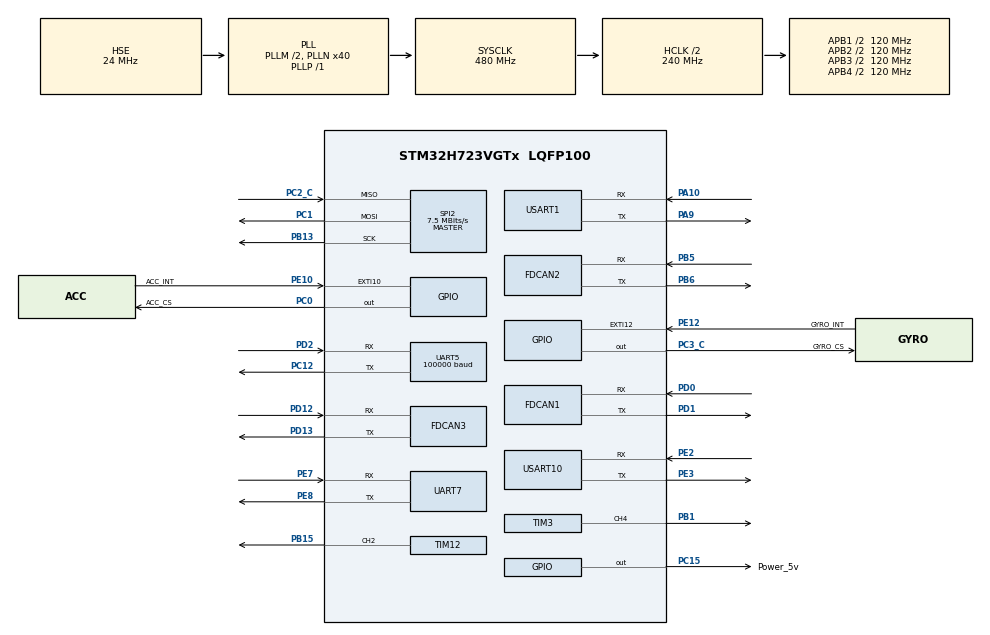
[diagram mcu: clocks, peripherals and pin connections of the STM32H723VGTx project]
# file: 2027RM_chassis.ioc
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CORTEX_M7.CPU_ICache=Disabled
CORTEX_M7.default_mode_Activation=1
Dma.Request0=SPI2_RX
Dma.Request1=SPI2_TX
Dma.Request2=UART5_RX
Dma.Request3=UART7_RX
Dma.Request4=UART7_TX
Dma.Request5=USART1_TX
Dma.Request6=USART10_RX
Dma.SPI2_RX.0.Direction=DMA_PERIPH_TO_MEMORY
Dma.SPI2_RX.0.EventEnable=DISABLE
Dma.SPI2_RX.0.FIFOMode=DMA_FIFOMODE_DISABLE
Dma.SPI2_RX.0.Instance=DMA1_Stream0
Dma.SPI2_RX.0.MemDataAlignment=DMA_MDATAALIGN_BYTE
Dma.SPI2_RX.0.MemInc=DMA_MINC_ENABLE
Dma.SPI2_RX.0.Mode=DMA_NORMAL
Dma.SPI2_RX.0.PeriphDataAlignment=DMA_PDATAALIGN_BYTE
Dma.SPI2_RX.0.PeriphInc=DMA_PINC_DISABLE
Dma.SPI2_RX.0.Polarity=HAL_DMAMUX_REQ_GEN_RISING
Dma.SPI2_RX.0.Priority=DMA_PRIORITY_VERY_HIGH
Dma.SPI2_RX.0.RequestNumber=1
Dma.SPI2_RX.0.SignalID=NONE
Dma.SPI2_RX.0.SyncEnable=DISABLE
Dma.SPI2_RX.0.SyncPolarity=HAL_DMAMUX_SYNC_NO_EVENT
Dma.SPI2_RX.0.SyncRequestNumber=1
Dma.SPI2_RX.0.SyncSignalID=NONE
Dma.SPI2_TX.1.Direction=DMA_MEMORY_TO_PERIPH
Dma.SPI2_TX.1.EventEnable=DISABLE
Dma.SPI2_TX.1.FIFOMode=DMA_FIFOMODE_DISABLE
Dma.SPI2_TX.1.Instance=DMA1_Stream2
Dma.SPI2_TX.1.MemDataAlignment=DMA_MDATAALIGN_BYTE
Dma.SPI2_TX.1.MemInc=DMA_MINC_ENABLE
Dma.SPI2_TX.1.Mode=DMA_NORMAL
Dma.SPI2_TX.1.PeriphDataAlignment=DMA_PDATAALIGN_BYTE
Dma.SPI2_TX.1.PeriphInc=DMA_PINC_DISABLE
Dma.SPI2_TX.1.Polarity=HAL_DMAMUX_REQ_GEN_RISING
Dma.SPI2_TX.1.Priority=DMA_PRIORITY_HIGH
Dma.SPI2_TX.1.RequestNumber=1
Dma.SPI2_TX.1.SignalID=NONE
Dma.SPI2_TX.1.SyncEnable=DISABLE
Dma.SPI2_TX.1.SyncPolarity=HAL_DMAMUX_SYNC_NO_EVENT
Dma.SPI2_TX.1.SyncRequestNumber=1
Dma.SPI2_TX.1.SyncSignalID=NONE
Dma.UART5_RX.2.Direction=DMA_PERIPH_TO_MEMORY
Dma.UART5_RX.2.EventEnable=DISABLE
Dma.UART5_RX.2.FIFOMode=DMA_FIFOMODE_DISABLE
Dma.UART5_RX.2.Instance=DMA1_Stream4
Dma.UART5_RX.2.MemDataAlignment=DMA_MDATAALIGN_BYTE
Dma.UART5_RX.2.MemInc=DMA_MINC_ENABLE
Dma.UART5_RX.2.Mode=DMA_CIRCULAR
Dma.UART5_RX.2.PeriphDataAlignment=DMA_PDATAALIGN_BYTE
Dma.UART5_RX.2.PeriphInc=DMA_PINC_DISABLE
Dma.UART5_RX.2.Polarity=HAL_DMAMUX_REQ_GEN_RISING
Dma.UART5_RX.2.Priority=DMA_PRIORITY_LOW
Dma.UART5_RX.2.RequestNumber=1
Dma.UART5_RX.2.SignalID=NONE
Dma.UART5_RX.2.SyncEnable=DISABLE
Dma.UART5_RX.2.SyncPolarity=HAL_DMAMUX_SYNC_NO_EVENT
Dma.UART5_RX.2.SyncRequestNumber=1
Dma.UART5_RX.2.SyncSignalID=NONE
Dma.UART7_RX.3.Direction=DMA_PERIPH_TO_MEMORY
Dma.UART7_RX.3.EventEnable=DISABLE
Dma.UART7_RX.3.FIFOMode=DMA_FIFOMODE_DISABLE
Dma.UART7_RX.3.Instance=DMA2_Stream6
Dma.UART7_RX.3.MemDataAlignment=DMA_MDATAALIGN_BYTE
Dma.UART7_RX.3.MemInc=DMA_MINC_ENABLE
Dma.UART7_RX.3.Mode=DMA_NORMAL
Dma.UART7_RX.3.PeriphDataAlignment=DMA_PDATAALIGN_BYTE
Dma.UART7_RX.3.PeriphInc=DMA_PINC_DISABLE
Dma.UART7_RX.3.Polarity=HAL_DMAMUX_REQ_GEN_RISING
Dma.UART7_RX.3.Priority=DMA_PRIORITY_LOW
Dma.UART7_RX.3.RequestNumber=1
Dma.UART7_RX.3.SignalID=NONE
Dma.UART7_RX.3.SyncEnable=DISABLE
Dma.UART7_RX.3.SyncPolarity=HAL_DMAMUX_SYNC_NO_EVENT
Dma.UART7_RX.3.SyncRequestNumber=1
Dma.UART7_RX.3.SyncSignalID=NONE
Dma.UART7_TX.4.Direction=DMA_MEMORY_TO_PERIPH
Dma.UART7_TX.4.EventEnable=DISABLE
Dma.UART7_TX.4.FIFOMode=DMA_FIFOMODE_DISABLE
Dma.UART7_TX.4.Instance=DMA1_Stream1
Dma.UART7_TX.4.MemDataAlignment=DMA_MDATAALIGN_BYTE
Dma.UART7_TX.4.MemInc=DMA_MINC_ENABLE
Dma.UART7_TX.4.Mode=DMA_NORMAL
Dma.UART7_TX.4.PeriphDataAlignment=DMA_PDATAALIGN_BYTE
Dma.UART7_TX.4.PeriphInc=DMA_PINC_DISABLE
Dma.UART7_TX.4.Polarity=HAL_DMAMUX_REQ_GEN_RISING
Dma.UART7_TX.4.Priority=DMA_PRIORITY_LOW
Dma.UART7_TX.4.RequestNumber=1
Dma.UART7_TX.4.SignalID=NONE
Dma.UART7_TX.4.SyncEnable=DISABLE
Dma.UART7_TX.4.SyncPolarity=HAL_DMAMUX_SYNC_NO_EVENT
Dma.UART7_TX.4.SyncRequestNumber=1
Dma.UART7_TX.4.SyncSignalID=NONE
Dma.USART10_RX.6.Direction=DMA_PERIPH_TO_MEMORY
Dma.USART10_RX.6.EventEnable=DISABLE
Dma.USART10_RX.6.FIFOMode=DMA_FIFOMODE_DISABLE
Dma.USART10_RX.6.Instance=DMA1_Stream3
Dma.USART10_RX.6.MemDataAlignment=DMA_MDATAALIGN_BYTE
Dma.USART10_RX.6.MemInc=DMA_MINC_ENABLE
Dma.USART10_RX.6.Mode=DMA_NORMAL
Dma.USART10_RX.6.PeriphDataAlignment=DMA_PDATAALIGN_BYTE
Dma.USART10_RX.6.PeriphInc=DMA_PINC_DISABLE
Dma.USART10_RX.6.Polarity=HAL_DMAMUX_REQ_GEN_RISING
Dma.USART10_RX.6.Priority=DMA_PRIORITY_MEDIUM
Dma.USART10_RX.6.RequestNumber=1
Dma.USART10_RX.6.SignalID=NONE
Dma.USART10_RX.6.SyncEnable=DISABLE
Dma.USART10_RX.6.SyncPolarity=HAL_DMAMUX_SYNC_NO_EVENT
Dma.USART10_RX.6.SyncRequestNumber=1
Dma.USART10_RX.6.SyncSignalID=NONE
Dma.USART1_TX.5.Direction=DMA_MEMORY_TO_PERIPH
Dma.USART1_TX.5.EventEnable=DISABLE
Dma.USART1_TX.5.FIFOMode=DMA_FIFOMODE_DISABLE
Dma.USART1_TX.5.Instance=DMA2_Stream0
Dma.USART1_TX.5.MemDataAlignment=DMA_MDATAALIGN_BYTE
Dma.USART1_TX.5.MemInc=DMA_MINC_ENABLE
Dma.USART1_TX.5.Mode=DMA_NORMAL
Dma.USART1_TX.5.PeriphDataAlignment=DMA_PDATAALIGN_BYTE
Dma.USART1_TX.5.PeriphInc=DMA_PINC_DISABLE
Dma.USART1_TX.5.Polarity=HAL_DMAMUX_REQ_GEN_RISING
Dma.USART1_TX.5.Priority=DMA_PRIORITY_LOW
Dma.USART1_TX.5.RequestNumber=1
Dma.USART1_TX.5.SignalID=NONE
Dma.USART1_TX.5.SyncEnable=DISABLE
Dma.USART1_TX.5.SyncPolarity=HAL_DMAMUX_SYNC_NO_EVENT
Dma.USART1_TX.5.SyncRequestNumber=1
Dma.USART1_TX.5.SyncSignalID=NONE
FDCAN1.AutoRetransmission=ENABLE
FDCAN1.CalculateBaudRateNominal=1000000
FDCAN1.CalculateTimeBitNominal=1000
FDCAN1.CalculateTimeQuantumNominal=50.0
FDCAN1.DataPrescaler=1
FDCAN1.DataTimeSeg1=15
FDCAN1.DataTimeSeg2=4
FDCAN1.FrameFormat=FDCAN_FRAME_FD_BRS
FDCAN1.NominalPrescaler=5
FDCAN1.NominalSyncJumpWidth=4
FDCAN1.NominalTimeSeg1=15
FDCAN1.NominalTimeSeg2=4
FDCAN1.ProtocolException=ENABLE
FDCAN1.RxFifo0ElmtSize=FDCAN_DATA_BYTES_64
FDCAN1.RxFifo0ElmtsNbr=16
FDCAN1.RxFifo1ElmtSize=FDCAN_DATA_BYTES_64
FDCAN1.StdFiltersNbr=1
FDCAN1.TxElmtSize=FDCAN_DATA_BYTES_64
FDCAN1.TxFifoQueueElmtsNbr=8
FDCAN2.AutoRetransmission=ENABLE
FDCAN2.CalculateBaudRateNominal=1000000
FDCAN2.CalculateTimeBitNominal=1000
FDCAN2.CalculateTimeQuantumNominal=50.0
FDCAN2.DataPrescaler=5
FDCAN2.DataTimeSeg1=14
FDCAN2.DataTimeSeg2=5
FDCAN2.MessageRAMOffset=512
FDCAN2.NominalPrescaler=5
FDCAN2.NominalSyncJumpWidth=4
FDCAN2.NominalTimeSeg1=14
FDCAN2.NominalTimeSeg2=5
FDCAN2.RxFifo0ElmtsNbr=0
FDCAN2.RxFifo1ElmtsNbr=8
FDCAN2.StdFiltersNbr=1
FDCAN2.TxFifoQueueElmtsNbr=3
FDCAN3.AutoRetransmission=ENABLE
FDCAN3.CalculateBaudRateNominal=1000000
FDCAN3.CalculateTimeBitNominal=1000
FDCAN3.CalculateTimeQuantumNominal=50.0
FDCAN3.DataPrescaler=5
FDCAN3.DataTimeSeg1=14
FDCAN3.DataTimeSeg2=5
FDCAN3.MessageRAMOffset=1709
FDCAN3.NominalPrescaler=5
FDCAN3.NominalSyncJumpWidth=1
FDCAN3.NominalTimeSeg1=14
FDCAN3.NominalTimeSeg2=5
FDCAN3.RxFifo0ElmtsNbr=4
FDCAN3.StdFiltersNbr=1
FDCAN3.TxElmtSize=FDCAN_DATA_BYTES_24
FDCAN3.TxFifoQueueElmtsNbr=4
FREERTOS.Tasks01=defaultTask,24,128,StartDefaultTask,Default,NULL,Dynamic,NULL,NULL;Chassis_Task,32,512,chassis_task,Default,NULL,Dynamic,NULL,NULL;IMU_task,48,1024,imu_task,Default,NULL,Dynamic,NULL,NULL;Talk_Task,24,128,Talk_Task_start,Default,NULL,Dynamic,NULL,NULL
Mcu.Family=STM32H7
Mcu.Name=STM32H723VGTx
Mcu.Package=LQFP100
NVIC.DMA1_Stream0_IRQn=true\:5\:0\:false\:false\:true\:true\:false\:true\:true
NVIC.DMA1_Stream1_IRQn=true\:5\:0\:false\:false\:true\:true\:false\:true\:true
NVIC.DMA1_Stream2_IRQn=true\:5\:0\:false\:false\:true\:true\:false\:true\:true
NVIC.DMA1_Stream3_IRQn=true\:5\:0\:false\:false\:true\:true\:false\:true\:true
NVIC.DMA1_Stream4_IRQn=true\:5\:0\:false\:false\:true\:true\:false\:true\:true
NVIC.DMA2_Stream0_IRQn=true\:5\:0\:false\:false\:true\:false\:false\:true\:true
NVIC.DMA2_Stream6_IRQn=true\:5\:0\:false\:false\:true\:false\:false\:true\:true
NVIC.FDCAN1_IT0_IRQn=true\:5\:0\:false\:false\:true\:true\:true\:true\:true
NVIC.FDCAN2_IT0_IRQn=true\:5\:0\:false\:false\:true\:true\:true\:true\:true
NVIC.FDCAN3_IT0_IRQn=true\:5\:0\:false\:false\:true\:true\:true\:true\:true
NVIC.PriorityGroup=NVIC_PRIORITYGROUP_4
NVIC.SPI2_IRQn=true\:5\:0\:false\:false\:true\:true\:false\:true\:true
NVIC.TIM4_IRQn=true\:15\:0\:false\:false\:true\:false\:false\:true\:true
NVIC.TimeBase=TIM4_IRQn
NVIC.TimeBaseIP=TIM4
NVIC.UART5_IRQn=true\:5\:0\:false\:false\:true\:true\:true\:true\:true
NVIC.UART7_IRQn=true\:5\:0\:false\:false\:true\:true\:true\:true\:true
NVIC.USART10_IRQn=true\:5\:0\:false\:false\:true\:true\:true\:true\:true
NVIC.USART1_IRQn=true\:5\:0\:false\:false\:true\:true\:true\:true\:true
PA10.Mode=Asynchronous
PA10.Signal=USART1_RX
PA9.Mode=Asynchronous
PA9.Signal=USART1_TX
PB1.Signal=S_TIM3_CH4
PB13.Mode=Full_Duplex_Master
PB13.Signal=SPI2_SCK
PB15.Signal=S_TIM12_CH2
PB5.Mode=FDCAN_Activate
PB5.Signal=FDCAN2_RX
PB6.Mode=FDCAN_Activate
PB6.Signal=FDCAN2_TX
PC0.GPIO_Label=ACC_CS
PC0.GPIO_Speed=GPIO_SPEED_FREQ_VERY_HIGH
PC0.PinState=GPIO_PIN_SET
PC0.Signal=GPIO_Output
PC15-OSC32_OUT.GPIO_Label=Power_5v
PC15-OSC32_OUT.Signal=GPIO_Output
PC3_C.GPIO_Label=GYRO_CS
PC3_C.GPIO_Speed=GPIO_SPEED_FREQ_VERY_HIGH
PC3_C.PinState=GPIO_PIN_SET
PC3_C.Signal=GPIO_Output
PE10.GPIO_Label=ACC_INT
PE10.Signal=GPXTI10
PE12.GPIO_Label=GYRO_INT
PE12.Signal=GPXTI12
PC1.Mode=Full_Duplex_Master
PC1.Signal=SPI2_MOSI
PC12.Mode=Asynchronous
PC12.Signal=UART5_TX
PC2_C.Mode=Full_Duplex_Master
PC2_C.Signal=SPI2_MISO
PD0.GPIO_Speed=GPIO_SPEED_FREQ_VERY_HIGH
PD0.Mode=FDCAN_Activate
PD0.Signal=FDCAN1_RX
PD1.GPIO_Speed=GPIO_SPEED_FREQ_VERY_HIGH
PD1.Mode=FDCAN_Activate
PD1.Signal=FDCAN1_TX
PD12.Mode=FDCAN_Activate
PD12.Signal=FDCAN3_RX
PD13.Mode=FDCAN_Activate
PD13.Signal=FDCAN3_TX
PD2.Mode=Asynchronous
PD2.Signal=UART5_RX
PE2.Mode=Asynchronous
PE2.Signal=USART10_RX
PE3.Mode=Asynchronous
PE3.Signal=USART10_TX
PE7.Mode=Asynchronous
PE7.Signal=UART7_RX
PE8.Mode=Asynchronous
PE8.Signal=UART7_TX
PH0-OSC_IN.Mode=HSE-External-Oscillator
PH0-OSC_IN.Signal=RCC_OSC_IN
PH1-OSC_OUT.Mode=HSE-External-Oscillator
PH1-OSC_OUT.Signal=RCC_OSC_OUT
ProjectManager.HeapSize=0x200
ProjectManager.StackSize=0x400
ProjectManager.TargetToolchain=MDK-ARM V5.32
RCC.ADCFreq_Value=100000000
RCC.APB1Freq_Value=120000000
RCC.APB2Freq_Value=120000000
RCC.APB3Freq_Value=120000000
RCC.APB4Freq_Value=120000000
RCC.CortexFreq_Value=480000000
RCC.D1PPRE=RCC_APB3_DIV2
RCC.D2PPRE1=RCC_APB1_DIV2
RCC.D2PPRE2=RCC_APB2_DIV2
RCC.D3PPRE=RCC_APB4_DIV2
RCC.DIVM1=2
RCC.DIVM2=24
RCC.DIVN1=40
RCC.DIVN2=200
RCC.DIVP1=1
RCC.FDCANCLockSelection=RCC_FDCANCLKSOURCE_PLL2
RCC.HCLKFreq_Value=240000000
RCC.HPRE=RCC_HCLK_DIV2
RCC.HSE_VALUE=24000000
RCC.PLL2FRACN=0
RCC.PLLFRACN=0
RCC.PLLSourceVirtual=RCC_PLLSOURCE_HSE
RCC.SYSCLKFreq_VALUE=480000000
RCC.SYSCLKSource=RCC_SYSCLKSOURCE_PLLCLK
RCC.USBFreq_Value=240000000
SH.S_TIM12_CH2.0=TIM12_CH2,PWM Generation2 CH2
SH.S_TIM3_CH4.0=TIM3_CH4,PWM Generation4 CH4
SPI2.BaudRatePrescaler=SPI_BAUDRATEPRESCALER_32
SPI2.CLKPhase=SPI_PHASE_2EDGE
SPI2.CLKPolarity=SPI_POLARITY_HIGH
SPI2.CalculateBaudRate=7.5 MBits/s
SPI2.DataSize=SPI_DATASIZE_8BIT
SPI2.Direction=SPI_DIRECTION_2LINES
SPI2.Mode=SPI_MODE_MASTER
SPI2.VirtualType=VM_MASTER
TIM12.Channel-PWM\ Generation2\ CH2=TIM_CHANNEL_2
TIM3.Channel-PWM\ Generation4\ CH4=TIM_CHANNEL_4
TIM3.Prescaler=24-1
TIM3.Period=10000-1
TIM5.Prescaler=240-1
TIM7.Prescaler=240-1
UART5.BaudRate=100000
UART5.StopBits=UART_STOPBITS_2
UART5.WordLength=WORDLENGTH_9B
USART1.VirtualMode-Asynchronous=VM_ASYNC
USART10.VirtualMode=VM_ASYNC
VP_FREERTOS_VS_CMSIS_V2.Mode=CMSIS_V2
VP_MEMORYMAP_VS_MEMORYMAP.Mode=CurAppReg
VP_SYS_VS_tim4.Mode=TIM4
VP_TIM5_VS_ClockSourceINT.Mode=Internal
VP_TIM7_VS_ClockSourceINT.Mode=Enable_Timer
board=custom

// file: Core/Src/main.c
/* USER CODE BEGIN Header */
/**
  ******************************************************************************
  * @file           : main.c
  * @brief          : Main program body
  ******************************************************************************
  * @attention
  *
  * Copyright (c) 2026 STMicroelectronics.
  * All rights reserved.
  *
  * This software is licensed under terms that can be found in the LICENSE file
  * in the root directory of this software component.
  * If no LICENSE file comes with this software, it is provided AS-IS.
  *
  ******************************************************************************
  */
/* USER CODE END Header */
#include "main.h"
#include "FreeRTOS.h"
#include "cmsis_os2.h"
#include "dma.h"
#include "fdcan.h"
#include "spi.h"
#include "tim.h"
#include "usart.h"
#include "gpio.h"

/* USER CODE BEGIN Includes */
#include "chassis_task.h"
#include "CAN_cmd_damiao.h"
#include "motor.h"
#include "bsp_can.h"
#include "bsp_rc.h"
/* USER CODE END Includes */

/* USER CODE BEGIN PV */
extern uint8_t rx_buff[BUFF_SIZE];
/* USER CODE END PV */

void SystemClock_Config(void);
void PeriphCommonClock_Config(void);
static void MPU_Config(void);
void MX_FREERTOS_Init(void);

/* USER CODE BEGIN 0 */
extern Chassis_s CHASSIS;
/* USER CODE END 0 */

int main(void)
{

  /* MPU Configuration--------------------------------------------------------*/
   MPU_Config();

  /* MCU Configuration--------------------------------------------------------*/

  /* Reset of all peripherals, Initializes the Flash interface and the Systick. */
  HAL_Init();

  /* Configure the system clock */
  SystemClock_Config();

  /* Configure the peripherals common clocks */
  PeriphCommonClock_Config();

  /* Initialize all configured peripherals */
  MX_GPIO_Init();
  MX_DMA_Init();
  MX_FDCAN1_Init();
  MX_FDCAN2_Init();
  MX_FDCAN3_Init();
  MX_SPI2_Init();
  MX_TIM3_Init();
  MX_TIM5_Init();
  MX_TIM7_Init();
  MX_TIM12_Init();
  MX_UART5_Init();
  MX_UART7_Init();
  MX_USART1_UART_Init();
  MX_USART10_UART_Init();
	HAL_UARTEx_ReceiveToIdle_DMA(&huart5, rx_buff, BUFF_SIZE);
	__HAL_DMA_DISABLE_IT(huart5.hdmarx, DMA_IT_HT); // 关闭半传输中断
  /* USER CODE BEGIN 2 */
  /* Board 5 V supply control, matching the original chassis project. */
  HAL_GPIO_WritePin(Power_5v_GPIO_Port, Power_5v_Pin, GPIO_PIN_SET);
  HAL_Delay(100U); /* Allow the switched supply/sensors to settle before tasks. */
  /* CPU cycle counter for measured task periods/execution times. */
  CoreDebug->DEMCR |= CoreDebug_DEMCR_TRCENA_Msk;
  DWT->CYCCNT = 0U;
  DWT->CTRL |= DWT_CTRL_CYCCNTENA_Msk;
  __DSB();
  __ISB();
		FDCAN1_Config();
	FDCAN2_Config();
  FDCAN3_Config();

//	MotorInit(&CHASSIS.joint_motor[2],
//          3, JOINT_CAN, DM_8009,
//          J0_DIRECTION, 1, DM_MODE_MIT);

//DmEnable(&CHASSIS.joint_motor[2]);

//	MotorInit(&CHASSIS.joint_motor[3],
//          4, JOINT_CAN, DM_8009,
//          J0_DIRECTION, 1, DM_MODE_MIT);

//DmEnable(&CHASSIS.joint_motor[3]);

//	MotorInit(&CHASSIS.joint_motor[0],
//          1, JOINT_CAN, DM_8009,
//          J0_DIRECTION, 1, DM_MODE_MIT);

//DmEnable(&CHASSIS.joint_motor[0]);

//	MotorInit(&CHASSIS.joint_motor[1],
//          2, JOINT_CAN, DM_8009,
//          J0_DIRECTION, 1, DM_MODE_MIT);

//DmEnable(&CHASSIS.joint_motor[1]);
//HAL_Delay(10);
//ChassisInit();
//HAL_Delay(10);
  /* USER CODE END 2 */

  /* Init scheduler */
  osKernelInitialize();  /* Call init function for freertos objects (in cmsis_os2.c) */
  MX_FREERTOS_Init();

  /* Start scheduler */
  osKernelStart();

  /* We should never get here as control is now taken by the scheduler */

  /* Infinite loop */
  while (1)
  {
		/////////////////腿长读取
		// 1. 掉线自动重使能保护（防止电机后上电未使能）
//      for (uint8_t i = 0; i < 4; i++) {
//          if (CHASSIS.joint_motor[i].fdb.state == 0) {
//              DmEnable(&CHASSIS.joint_motor[i]);
//              HAL_Delay(1);
//          }
//      }
//			// 2. 更新电机反馈并解算虚拟腿长 L0 和角度 Phi0
//      for (uint8_t i = 0; i < 4; i++) {
//          GetMotorMeasure(&CHASSIS.joint_motor[i]);
//      }
//
//		UpdateLegStatus();
//
//			// 3. 发送 0 力矩指令（既让腿保持无力可手掰，又触发达妙电机回传下一帧位置数据）
//      for (uint8_t i = 0; i < 4; i++) {
//          CHASSIS.joint_motor[i].set.tor = 0.0f;
//      }
//      DmMitCtrlTorque(&CHASSIS.joint_motor[0]);
//      DmMitCtrlTorque(&CHASSIS.joint_motor[1]);
//      HAL_Delay(1); // 分批发送，防止 FDCAN TX FIFO 溢出丢包
//      DmMitCtrlTorque(&CHASSIS.joint_motor[2]);
//      DmMitCtrlTorque(&CHASSIS.joint_motor[3]);

			//////////////电机测试
//      GetMotorMeasure(&CHASSIS.joint_motor[1]);
//      GetMotorMeasure(&CHASSIS.joint_motor[0]);
//      GetMotorMeasure(&CHASSIS.joint_motor[3]);
//		  GetMotorMeasure(&CHASSIS.joint_motor[2]);
//
//      CHASSIS.joint_motor[0].set.tor = 0.0f;
//		  CHASSIS.joint_motor[1].set.tor = 0.0f;
//   		CHASSIS.joint_motor[2].set.tor = 0.0f;
//		  CHASSIS.joint_motor[3].set.tor = 0.0f;
//      DmMitCtrlTorque(&CHASSIS.joint_motor[0]);
//      DmMitCtrlTorque(&CHASSIS.joint_motor[1]);
//      DmMitCtrlTorque(&CHASSIS.joint_motor[2]);
//      DmMitCtrlTorque(&CHASSIS.joint_motor[3]);
//
	//	FDCAN1_UpdateDebug();
 //     HAL_Delay(1);
  }
}

void SystemClock_Config(void)
{
  RCC_OscInitTypeDef RCC_OscInitStruct = {0};
  RCC_ClkInitTypeDef RCC_ClkInitStruct = {0};

  /** Supply configuration update enable
  */
  HAL_PWREx_ConfigSupply(PWR_LDO_SUPPLY);

  /** Configure the main internal regulator output voltage
  */
  __HAL_PWR_VOLTAGESCALING_CONFIG(PWR_REGULATOR_VOLTAGE_SCALE0);

  while(!__HAL_PWR_GET_FLAG(PWR_FLAG_VOSRDY)) {}

  /** Initializes the RCC Oscillators according to the specified parameters
  * in the RCC_OscInitTypeDef structure.
  */
  RCC_OscInitStruct.OscillatorType = RCC_OSCILLATORTYPE_HSE;
  RCC_OscInitStruct.HSEState = RCC_HSE_ON;
  RCC_OscInitStruct.PLL.PLLState = RCC_PLL_ON;
  RCC_OscInitStruct.PLL.PLLSource = RCC_PLLSOURCE_HSE;
  RCC_OscInitStruct.PLL.PLLM = 2;
  RCC_OscInitStruct.PLL.PLLN = 40;
  RCC_OscInitStruct.PLL.PLLP = 1;
  RCC_OscInitStruct.PLL.PLLQ = 2;
  RCC_OscInitStruct.PLL.PLLR = 2;
  RCC_OscInitStruct.PLL.PLLRGE = RCC_PLL1VCIRANGE_3;
  RCC_OscInitStruct.PLL.PLLVCOSEL = RCC_PLL1VCOWIDE;
  RCC_OscInitStruct.PLL.PLLFRACN = 0;
  if (HAL_RCC_OscConfig(&RCC_OscInitStruct) != HAL_OK)
  {
    Error_Handler();
  }

  /** Initializes the CPU, AHB and APB buses clocks
  */
  RCC_ClkInitStruct.ClockType = RCC_CLOCKTYPE_HCLK|RCC_CLOCKTYPE_SYSCLK
                              |RCC_CLOCKTYPE_PCLK1|RCC_CLOCKTYPE_PCLK2
                              |RCC_CLOCKTYPE_D3PCLK1|RCC_CLOCKTYPE_D1PCLK1;
  RCC_ClkInitStruct.SYSCLKSource = RCC_SYSCLKSOURCE_PLLCLK;
  RCC_ClkInitStruct.SYSCLKDivider = RCC_SYSCLK_DIV1;
  RCC_ClkInitStruct.AHBCLKDivider = RCC_HCLK_DIV2;
  RCC_ClkInitStruct.APB3CLKDivider = RCC_APB3_DIV2;
  RCC_ClkInitStruct.APB1CLKDivider = RCC_APB1_DIV2;
  RCC_ClkInitStruct.APB2CLKDivider = RCC_APB2_DIV2;
  RCC_ClkInitStruct.APB4CLKDivider = RCC_APB4_DIV2;

  if (HAL_RCC_ClockConfig(&RCC_ClkInitStruct, FLASH_LATENCY_3) != HAL_OK)
  {
    Error_Handler();
  }
}

void PeriphCommonClock_Config(void)
{
  RCC_PeriphCLKInitTypeDef PeriphClkInitStruct = {0};

  /** Initializes the peripherals clock
  */
  PeriphClkInitStruct.PeriphClockSelection = RCC_PERIPHCLK_FDCAN;
  PeriphClkInitStruct.PLL2.PLL2M = 24;
  PeriphClkInitStruct.PLL2.PLL2N = 200;
  PeriphClkInitStruct.PLL2.PLL2P = 2;
  PeriphClkInitStruct.PLL2.PLL2Q = 2;
  PeriphClkInitStruct.PLL2.PLL2R = 2;
  PeriphClkInitStruct.PLL2.PLL2RGE = RCC_PLL2VCIRANGE_0;
  PeriphClkInitStruct.PLL2.PLL2VCOSEL = RCC_PLL2VCOMEDIUM;
  PeriphClkInitStruct.PLL2.PLL2FRACN = 0;
  PeriphClkInitStruct.FdcanClockSelection = RCC_FDCANCLKSOURCE_PLL2;
  if (HAL_RCCEx_PeriphCLKConfig(&PeriphClkInitStruct) != HAL_OK)
  {
    Error_Handler();
  }
}

 /* MPU Configuration */

void MPU_Config(void)
{
  MPU_Region_InitTypeDef MPU_InitStruct = {0};

  /* Disables the MPU */
  HAL_MPU_Disable();

  /** Initializes and configures the Region and the memory to be protected
  */
  MPU_InitStruct.Enable = MPU_REGION_ENABLE;
  MPU_InitStruct.Number = MPU_REGION_NUMBER0;
  MPU_InitStruct.BaseAddress = 0x0;
  MPU_InitStruct.Size = MPU_REGION_SIZE_4GB;
  MPU_InitStruct.SubRegionDisable = 0x87;
  MPU_InitStruct.TypeExtField = MPU_TEX_LEVEL0;
  MPU_InitStruct.AccessPermission = MPU_REGION_NO_ACCESS;
  MPU_InitStruct.DisableExec = MPU_INSTRUCTION_ACCESS_DISABLE;
  MPU_InitStruct.IsShareable = MPU_ACCESS_SHAREABLE;
  MPU_InitStruct.IsCacheable = MPU_ACCESS_NOT_CACHEABLE;
  MPU_InitStruct.IsBufferable = MPU_ACCESS_NOT_BUFFERABLE;

  HAL_MPU_ConfigRegion(&MPU_InitStruct);
  /* Enables the MPU */
  HAL_MPU_Enable(MPU_PRIVILEGED_DEFAULT);

}

void HAL_TIM_PeriodElapsedCallback(TIM_HandleTypeDef *htim)
{
  if (htim->Instance == TIM4)
  {
    HAL_IncTick();
  }
}

void Error_Handler(void)
{
  __disable_irq();
  while (1)
  {
  }
}

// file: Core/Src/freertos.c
/* USER CODE BEGIN Header */
/**
  ******************************************************************************
  * File Name          : freertos.c
  * Description        : Code for freertos applications
  ******************************************************************************
  * @attention
  *
  * Copyright (c) 2026 STMicroelectronics.
  * All rights reserved.
  *
  * This software is licensed under terms that can be found in the LICENSE file
  * in the root directory of this software component.
  * If no LICENSE file comes with this software, it is provided AS-IS.
  *
  ******************************************************************************
  */
/* USER CODE END Header */

#include "FreeRTOS.h"
#include "task.h"
#include "main.h"
#include "FreeRTOS.h"
#include "cmsis_os2.h"

/* Definitions for defaultTask */
osThreadId_t defaultTaskHandle;
const osThreadAttr_t defaultTask_attributes = {
  .name = "defaultTask",
  .stack_size = 128 * 4,
  .priority = (osPriority_t) osPriorityNormal,
};
/* Definitions for Chassis_Task */
osThreadId_t Chassis_TaskHandle;
const osThreadAttr_t Chassis_Task_attributes = {
  .name = "Chassis_Task",
  .stack_size = 512 * 4,
  .priority = (osPriority_t) osPriorityAboveNormal,
};
/* Definitions for IMU_task */
osThreadId_t IMU_taskHandle;
const osThreadAttr_t IMU_task_attributes = {
  .name = "IMU_task",
  .stack_size = 1024 * 4,
  .priority = (osPriority_t) osPriorityRealtime,
};
/* Definitions for Talk_Task */
osThreadId_t Talk_TaskHandle;
const osThreadAttr_t Talk_Task_attributes = {
  .name = "Talk_Task",
  .stack_size = 128 * 4,
  .priority = (osPriority_t) osPriorityNormal,
};

void StartDefaultTask(void *argument);
void chassis_task(void *argument);
void imu_task(void *argument);
void Talk_Task_start(void *argument);

void MX_FREERTOS_Init(void); /* (MISRA C 2004 rule 8.1) */

void MX_FREERTOS_Init(void) {

  /* Create the thread(s) */
  /* creation of defaultTask */
  defaultTaskHandle = osThreadNew(StartDefaultTask, NULL, &defaultTask_attributes);

  /* creation of Chassis_Task */
  Chassis_TaskHandle = osThreadNew(chassis_task, NULL, &Chassis_Task_attributes);

  /* creation of IMU_task */
  IMU_taskHandle = osThreadNew(imu_task, NULL, &IMU_task_attributes);

  /* creation of Talk_Task */
  Talk_TaskHandle = osThreadNew(Talk_Task_start, NULL, &Talk_Task_attributes);

  /* USER CODE BEGIN RTOS_THREADS */
  /* Fail visibly if heap exhaustion prevents creation of a required task. */
  configASSERT(defaultTaskHandle != NULL);
  configASSERT(Chassis_TaskHandle != NULL);
  configASSERT(IMU_taskHandle != NULL);
  configASSERT(Talk_TaskHandle != NULL);
  configASSERT(osKernelGetTickFreq() == 1000U);
  /* USER CODE END RTOS_THREADS */

}

 void StartDefaultTask(void *argument)
{
  for(;;)
  {
    osDelay(1);
  }
}

__weak void chassis_task(void *argument)
{
  for(;;)
  {
    osDelay(1);
  }
}

__weak void imu_task(void *argument)
{
  for(;;)
  {
    osDelay(1);
  }
}

__weak void Talk_Task_start(void *argument)
{
  for(;;)
  {
    osDelay(1);
  }
}
